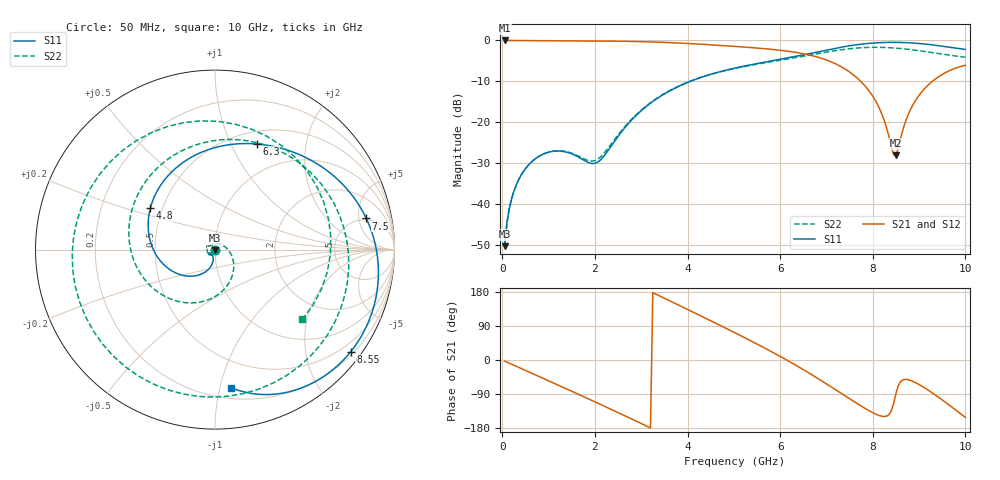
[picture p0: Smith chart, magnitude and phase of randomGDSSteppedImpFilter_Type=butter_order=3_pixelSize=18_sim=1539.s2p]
! freq	dB(S11)	phase(S11)	dB(S12)	phase(S12)
!  dB(S21)	phase(S21)	dB(S22)	phase(S22)
!S-par simulation data
#  GHz  S  DB  R 50
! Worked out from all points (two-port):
!   200 points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, 50 MHz to 10 GHz, reference 50 ohm
!   highest |S21| = -0.01 dB at 50 MHz (marker M1); lowest = -28.2 dB at 8.5 GHz (marker M2)
!   |S21| within 3 dB of the highest: start of sweep to 6.381 GHz
!   lowest |S11| = -50.4 dB at 50 MHz (marker M3), VSWR 1.01, Z = 50 - j0.302 ohm
!   |S11| at or under -10 dB: start of sweep to 4.062 GHz
!   |S22| runs from -50.3 to -1.7 dB; largest |S21 - S12| = 0
!   S11 on the Smith chart (normalised r, x): 50 MHz: 1.00, -0.01; 4.8 GHz: 0.43, +0.24; 6.3 GHz: 0.64, +1.26; 7.5 GHz: 4.73, +6.33; 8.55 GHz: 0.27, -2.96; 10 GHz: 0.28, -1.08
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0.05  -50.38 -84.9  -0.01 -2.8  -0.01 -2.8  -50.32 -86.3
0.2  -38.82 -98.1  -0.02 -11.1  -0.02 -11.1  -38.85 -100.6
0.55  -30.70 -116.9  -0.04 -30.2  -0.04 -30.2  -30.71 -124.4
1.75  -29.26 -148.1  -0.11 -96.4  -0.11 -96.4  -28.92 130.4
2.65  -21.30 -101.9  -0.21 -147.4  -0.21 -147.4  -21.04 -13.1
3.4  -13.79 -133.5  -0.43 168.9  -0.43 168.9  -13.69 -69.4
4.15  -9.62 -175.3  -0.84 124.5  -0.84 124.5  -9.59 -116.4
4.8  -7.37 147.4  -1.29 85.5  -1.29 85.5  -7.41 -157.1
5.05  -6.71 133.3  -1.48 70.2  -1.48 70.2  -6.78 -173.6
5.7  -5.25 98.2  -2.06 29.3  -2.06 29.3  -5.42 139.4
6.3  -3.98 68.5  -2.86 -11.1  -2.86 -11.1  -4.27 87.7
6.7  -3.07 49.7  -3.75 -40.1  -3.75 -40.1  -3.46 47.8
7.15  -2.02 28.5  -5.48 -74.8  -5.48 -74.8  -2.57 -1.8
7.5  -1.30 11.6  -7.73 -102.3  -7.73 -102.3  -2.03 -42.6
7.95  -0.69 -10.0  -12.84 -135.8  -12.84 -135.8  -1.69 -96.7
8.35  -0.47 -28.4  -23.59 -144.0  -23.59 -144.0  -1.77 -146.3
8.5  -0.47 -34.9  -28.18 -88.5  -28.18 -88.5  -1.89 -165.5
8.55  -0.48 -37.1  -26.33 -67.9  -26.33 -67.9  -1.93 -172.0
8.85  -0.62 -49.3  -16.13 -55.5  -16.13 -55.5  -2.29 147.5
9.25  -1.04 -63.9  -10.37 -84.0  -10.37 -84.0  -2.92 88.8
9.65  -1.66 -75.8  -7.43 -118.7  -7.43 -118.7  -3.59 23.7
10  -2.21 -83.4  -6.10 -151.5  -6.10 -151.5  -4.11 -38.5
